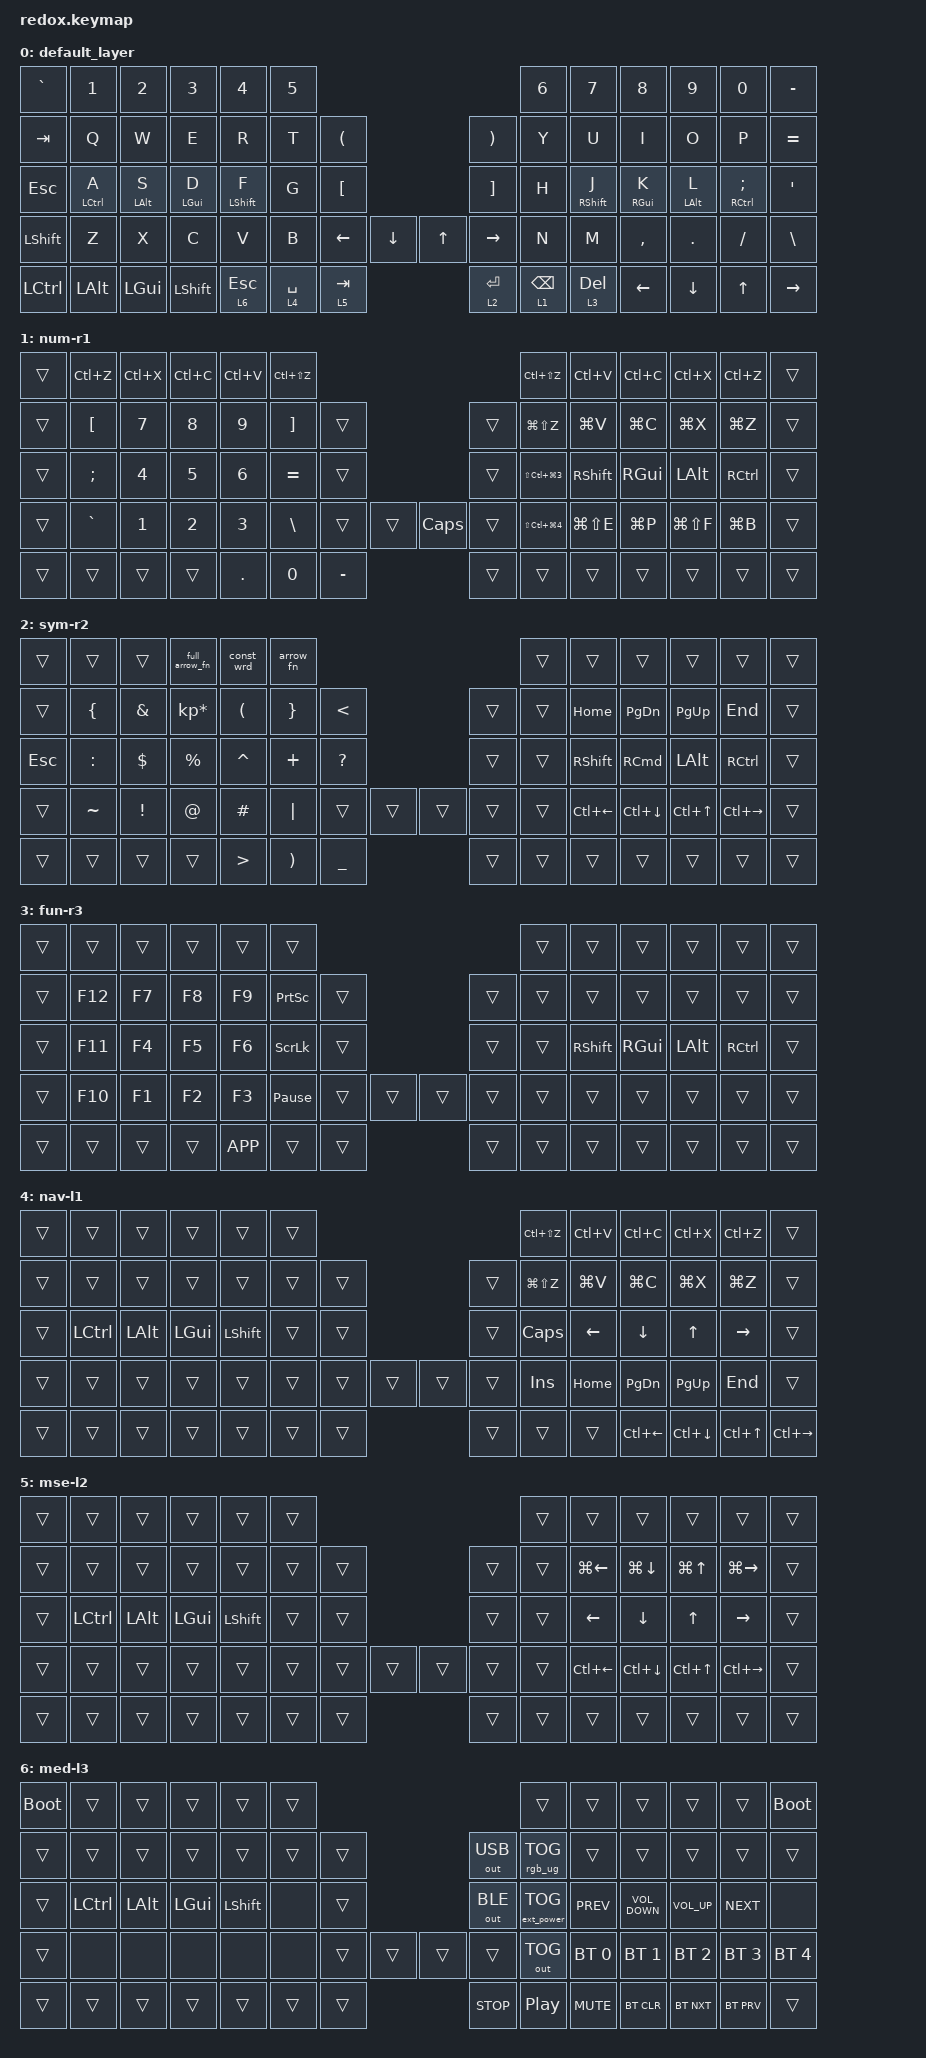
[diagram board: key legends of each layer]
/*
 * Copyright (c) 2021 The ZMK Contributors
 *
 * SPDX-License-Identifier: MIT
 */

#include <behaviors.dtsi>
#include <dt-bindings/zmk/bt.h>
#include <dt-bindings/zmk/ext_power.h>
#include <dt-bindings/zmk/keys.h>
#include <dt-bindings/zmk/outputs.h>
#include <dt-bindings/zmk/rgb.h>

&lt {
    global-quick-tap;
    quick-tap-ms = <170>;
};

&mt {
    quick-tap-ms = <100>;
    global-quick-tap;
    flavor = "tap-preferred";
};

/ {
    macros {
        arrow_fn: arrow_fn {
            compatible = "zmk,behavior-macro";
            label = "ARROW_FN";
            #binding-cells = <0>;
            bindings = <&kp EQUAL &kp GT>;
        };

        full_arrow_fn: full_arrow_fn {
            compatible = "zmk,behavior-macro";
            label = "FULL_ARROW_FN";
            #binding-cells = <0>;
            bindings = <&kp C &kp O &kp N &kp S &kp T &kp SPACE &kp F &kp N &kp SPACE &kp EQUAL &kp SPACE &kp LPAR &kp RPAR &kp SPACE &kp EQUAL &kp GT &kp SPACE &kp LEFT_BRACE &kp RBRC>;
        };

        const_wrd: const_wrd {
            compatible = "zmk,behavior-macro";
            label = "CONST_WRD";
            #binding-cells = <0>;
            bindings = <&kp C &kp O &kp N &kp S &kp T &kp SPACE>;
        };
    };

    combos {
        compatible = "zmk,combos";

        bootloader_r {
            bindings = <&bootloader>;
            key-positions = <11 69>;
        };

        bootloader_l {
            bindings = <&bootloader>;
            key-positions = <0 56>;
        };
    };

    keymap {
        compatible = "zmk,keymap";

        default_layer {
            // --------------------------------------------------------------------------------------------------------------------------------
            // | ESC   |  1  |  2  |   3   |  4  |  5  |                                  |  6     |  7    |  8    |  9   | 0  |    BKSP   |
            // | TAB   |  Q  |  W  |   E   |  R  |  T  |   (   |                  |  )    |  Y     |  U    |  I    |  O   | P  |     -     |
            // | CTRL  |  A  |  S  |   D   |  F  |  G  |   [   |                  |  ]    |  H     |  J    |  K    |  L   | ;  |     '     |
            // | SHIFT |  Z  |  X  |   C   |  V  |  B  | PG_UP | PG_DOWN |   HOME | END   |  N     |  M    |  ,    |  .   | /  | SHFT(RET) |
            // | CRTL  | ALT | GUI | LOWER |    GUI    | LOWER | SPACE   |   DEL  | SPACE |  RAISE | LEFT  | DOWN | UP |   RIGHT   |

            bindings = <
&kp GRAVE  &kp N1       &kp N2          &kp N3          &kp N4            &kp N5                                                                    &kp N6                &kp N7             &kp N8           &kp N9          &kp N0                  &kp MINUS
&kp TAB    &kp Q        &kp W           &kp E           &kp R             &kp T      &kp LPAR                                      &kp RPAR         &kp Y                 &kp U              &kp I            &kp O           &kp P                   &kp EQUAL
&kp ESC    &mt LCTRL A  &mt LEFT_ALT S  &mt LEFT_GUI D  &mt LEFT_SHIFT F  &kp G      &kp LBKT                                      &kp RBKT         &kp H                 &mt RIGHT_SHIFT J  &mt RIGHT_GUI K  &mt LEFT_ALT L  &mt RIGHT_CONTROL SEMI  &kp SQT
&kp LSHFT  &kp Z        &kp X           &kp C           &kp V             &kp B      &kp LEFT_ARROW  &kp DOWN_ARROW  &kp UP_ARROW  &kp RIGHT        &kp N                 &kp M              &kp COMMA        &kp DOT         &kp FSLH                &kp BACKSLASH
&kp LCTRL  &kp LALT     &kp LGUI        &kp LEFT_SHIFT                    &lt 6 ESC  &lt 4 SPACE     &lt 5 TAB       &lt 2 ENTER   &lt 1 BACKSPACE          &lt 3 DELETE                     &kp LEFT         &kp DOWN        &kp UP                  &kp RIGHT
            >;
        };

        num-r1 {
            // --------------------------------------------------------------------------------------------------------------------------
            // | ESC   |  1  |  2  |   3   |   4   |  5  |                   ---              |  6  |  7  |   8  |  9   |  0  |  DEL  |
            // | ESC   |  1  |  2  |   3   |   4   |  5  |   (   |           ---        |  )  |  6  |  7  |   8  |  9   |  0  |  DEL  |
            // | CTRL  |  -  |  =  |   [   |   ]   |  \  |   [   |           ---        |  ]  |  *  |  4  |   5  |  6   |  +  |   -   |
            // | SHIFT | ESC | GUI | COPY  | PASTE |     | PG_UP | PG_DOWN | --- | HOME | END |  \  |  1  |   2  |  3   | RET |  RET  |
            // | CRTL  | ALT | GUI | LOWER |     GUI     | LOWER | SPACE   | --- | DEL  |  0  |    RAISE  | LEFT | DOWN | UP  | RIGHT |

            bindings = <
&trans  &kp LC(Z)         &kp LC(X)  &kp LC(C)  &kp LC(V)  &kp LC(LS(Z))                                           &kp LC(LS(Z))               &kp LC(V)        &kp LC(C)      &kp LC(X)      &kp LC(Z)          &trans
&trans  &kp LEFT_BRACKET  &kp N7     &kp N8     &kp N9     &kp RIGHT_BRACKET  &trans                       &trans  &kp LG(LS(Z))               &kp LG(V)        &kp LG(C)      &kp LG(X)      &kp LG(Z)          &trans
&trans  &kp SEMI          &kp N4     &kp N5     &kp N6     &kp EQUAL          &trans                       &trans  &kp LS(LC(LG(N3)))          &kp RIGHT_SHIFT  &kp RIGHT_GUI  &kp LEFT_ALT   &kp RIGHT_CONTROL  &trans
&trans  &kp GRAVE         &kp N1     &kp N2     &kp N3     &kp BACKSLASH      &trans  &trans     &kp CAPS  &trans  &kp LS(LC(LG(N4)))          &kp LG(LS(E))    &kp LG(P)      &kp LG(LS(F))  &kp LG(B)          &trans
&trans  &trans            &trans     &trans                &kp PERIOD         &kp N0  &kp MINUS  &trans    &trans                      &trans                   &trans         &trans         &trans             &trans
            >;
        };

        sym-r2 {
            // ----------------------------------------------------------------------------------------------------------------------------
            // | ESC   |  1  |  2  |   3   |  4  |  5  |                   ---                |  6   |  7   |  8   |  9   |  0    |  DEL  |
            // | ESC   |  !  |  @  |   #   |  $  |  %  |   (   |           ---        |  )    |  ^   |  &   |  *   |  (   |  )    |  DEL  |
            // | CTRL  |  _  |  +  |   {   |  }  | "|" |   [   |           ---        |  ]    | HOME | PGUP | PRSC | UP   |  `    |   ~   |
            // | SHIFT | ESC | GUI |   (   |  )  |     | PG_UP | PG_DOWN | --- | HOME | END   | END  | PGDN | LEFT | DOWN | RIGHT |  RET  |
            // | CRTL  | ALT | GUI | LOWER |    GUI    | LOWER | SPACE   | --- | DEL  | SPACE |    RAISE    | LEFT | DOWN | UP    | RIGHT |

            bindings = <
&trans   &trans          &trans           &full_arrow_fn   &const_wrd            &arrow_fn                                                                &trans          &trans              &trans              &trans            &trans             &trans
&trans   &kp LEFT_BRACE  &kp AMPERSAND    &kp KP_ASTERISK  &kp LEFT_PARENTHESIS  &kp RIGHT_BRACE   &kp LESS_THAN                                  &trans  &trans          &kp HOME            &kp PAGE_DOWN       &kp PG_UP         &kp END            &trans
&kp ESC  &kp COLON       &kp DOLLAR       &kp PERCENT      &kp CARET             &kp PLUS          &kp QUESTION                                   &trans  &trans          &kp RIGHT_SHIFT     &kp RIGHT_COMMAND   &kp LEFT_ALT      &kp RIGHT_CONTROL  &trans
&trans   &kp TILDE       &kp EXCLAMATION  &kp AT           &kp POUND             &kp PIPE          &trans                 &trans          &trans  &trans  &trans          &kp LC(LEFT_ARROW)  &kp LC(DOWN_ARROW)  &kp LC(UP_ARROW)  &kp LC(RIGHT)      &trans
&trans   &trans          &trans           &trans                                 &kp GREATER_THAN  &kp RIGHT_PARENTHESIS  &kp UNDERSCORE  &trans  &trans          &trans                      &trans              &trans            &trans             &trans
            >;
        };

        fun-r3 {
            bindings = <
&trans  &trans   &trans  &trans  &trans  &trans                                           &trans          &trans     &trans    &trans    &trans     &trans
&trans  &kp F12  &kp F7  &kp F8  &kp F9  &kp PRINTSCREEN  &trans                  &trans  &trans          &trans     &trans    &trans    &trans     &trans
&trans  &kp F11  &kp F4  &kp F5  &kp F6  &kp SCROLLLOCK   &trans                  &trans  &trans          &kp RSHFT  &kp RGUI  &kp LALT  &kp RCTRL  &trans
&trans  &kp F10  &kp F1  &kp F2  &kp F3  &kp PAUSE_BREAK  &trans  &trans  &trans  &trans  &trans          &trans     &trans    &trans    &trans     &trans
&trans  &trans   &trans  &trans          &kp K_APP        &trans  &trans  &trans  &trans          &trans             &trans    &trans    &trans     &trans
            >;
        };

        nav-l1 {
            bindings = <
&trans  &trans     &trans    &trans    &trans     &trans                                  &kp LC(LS(Z))          &kp LC(V)  &kp LC(C)      &kp LC(X)     &kp LC(Z)   &trans
&trans  &trans     &trans    &trans    &trans     &trans  &trans                  &trans  &kp LG(LS(Z))          &kp LG(V)  &kp LG(C)      &kp LG(X)     &kp LG(Z)   &trans
&trans  &kp LCTRL  &kp LALT  &kp LGUI  &kp LSHFT  &trans  &trans                  &trans  &kp CAPSLOCK           &kp LEFT   &kp DOWN       &kp UP        &kp RIGHT   &trans
&trans  &trans     &trans    &trans    &trans     &trans  &trans  &trans  &trans  &trans  &kp INSERT             &kp HOME   &kp PAGE_DOWN  &kp PAGE_UP   &kp END     &trans
&trans  &trans     &trans    &trans               &trans  &trans  &trans  &trans  &trans                 &trans             &kp LC(LEFT)   &kp LC(DOWN)  &kp LC(UP)  &kp LC(RIGHT_ARROW)
            >;
        };

        mse-l2 {
            bindings = <
&trans  &trans     &trans    &trans    &trans     &trans                                  &trans          &trans        &trans        &trans      &trans         &trans
&trans  &trans     &trans    &trans    &trans     &trans  &trans                  &trans  &trans          &kp LG(LEFT)  &kp LG(DOWN)  &kp LG(UP)  &kp LG(RIGHT)  &trans
&trans  &kp LCTRL  &kp LALT  &kp LGUI  &kp LSHFT  &trans  &trans                  &trans  &trans          &kp LEFT      &kp DOWN      &kp UP      &kp RIGHT      &trans
&trans  &trans     &trans    &trans    &trans     &trans  &trans  &trans  &trans  &trans  &trans          &kp LC(LEFT)  &kp LC(DOWN)  &kp LC(UP)  &kp LC(RIGHT)  &trans
&trans  &trans     &trans    &trans               &trans  &trans  &trans  &trans  &trans          &trans                &trans        &trans      &trans         &trans
            >;
        };

        med-l3 {
            // -----------------------------------------------------------------------------------------
            // |  F1   |  F2   |    F3    |    F4     |     F5     | F6 |                   ---                | F7  | F8  |  F9  |  F10 | F11 | F12        |
            // | TAB   |       |          |           |            |    | BOOTL |           ---        |  )    | BT1 | BT2 |  BT3 |  BT4 | BT5 | OUTPUT TGL |
            // | CTRL  | MUTE  |  Vol Dn  |  Vol Up   | Play/Pause |    | RESET |           ---        |  ]    | F1  | F2  |  F3  |  F4  | F5  | F6         |
            // | SHIFT | PSCRN |  PSCRN   |   CAPS    |            |    | PG_UP | PG_DOWN | --- | HOME | END   | F7  | F8  |  F9  |  F10 | F11 | F12        |
            // | CRTL  | ALT   |  GUI     |   LOWER   |      GUI        | LOWER | SPACE   | --- | DEL  | SPACE |   RAISE   | LEFT | DOWN | UP  |   RIGHT    |

            bindings = <
&bootloader  &trans     &trans    &trans    &trans     &trans                                                &trans                         &trans        &trans             &trans           &trans        &bootloader
&trans       &trans     &trans    &trans    &trans     &trans  &trans                      &out OUT_USB      &rgb_ug RGB_TOG                &trans        &trans             &trans           &trans        &trans
&trans       &kp LCTRL  &kp LALT  &kp LGUI  &kp LSHFT  &none   &trans                      &out OUT_BLE      &ext_power EP_TOG              &kp C_PREV    &kp C_VOLUME_DOWN  &kp C_VOLUME_UP  &kp C_NEXT    &none
&trans       &none      &none     &none     &none      &none   &trans  &trans  &trans      &trans            &out OUT_TOG                   &bt BT_SEL 0  &bt BT_SEL 1       &bt BT_SEL 2     &bt BT_SEL 3  &bt BT_SEL 4
&trans       &trans     &trans    &trans               &trans  &trans  &trans  &kp C_STOP  &kp C_PLAY_PAUSE                     &kp K_MUTE                &bt BT_CLR         &bt BT_NXT       &bt BT_PRV    &trans
            >;
        };
    };
};
